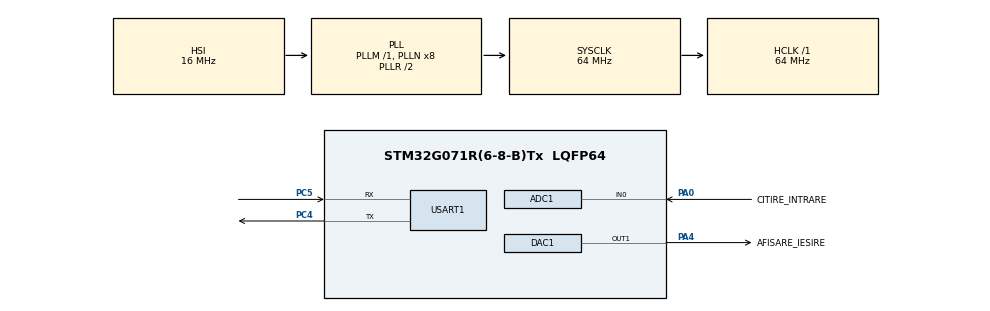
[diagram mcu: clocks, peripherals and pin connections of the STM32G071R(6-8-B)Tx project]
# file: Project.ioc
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ADC1.Channel-0\#ChannelRegularConversion=ADC_CHANNEL_0
ADC1.NbrOfConversionFlag=1
ADC1.Rank-0\#ChannelRegularConversion=1
ADC1.SamplingTime-0\#ChannelRegularConversion=ADC_SAMPLINGTIME_COMMON_1
ADC1.SelectedChannel=ADC_CHANNEL_0
ADC1.master=1
DAC1.DAC_Channel-DAC_OUT1=DAC_CHANNEL_1
DAC1.DAC_UserTrimming-DAC_OUT1=DAC_TRIMMING_FACTORY
Dma.ADC1.0.Direction=DMA_PERIPH_TO_MEMORY
Dma.ADC1.0.EventEnable=DISABLE
Dma.ADC1.0.Instance=DMA1_Channel1
Dma.ADC1.0.MemDataAlignment=DMA_MDATAALIGN_HALFWORD
Dma.ADC1.0.MemInc=DMA_MINC_ENABLE
Dma.ADC1.0.Mode=DMA_NORMAL
Dma.ADC1.0.PeriphDataAlignment=DMA_PDATAALIGN_HALFWORD
Dma.ADC1.0.PeriphInc=DMA_PINC_DISABLE
Dma.ADC1.0.Polarity=HAL_DMAMUX_REQ_GEN_RISING
Dma.ADC1.0.Priority=DMA_PRIORITY_HIGH
Dma.ADC1.0.RequestNumber=1
Dma.ADC1.0.SignalID=NONE
Dma.ADC1.0.SyncEnable=DISABLE
Dma.ADC1.0.SyncPolarity=HAL_DMAMUX_SYNC_NO_EVENT
Dma.ADC1.0.SyncRequestNumber=1
Dma.ADC1.0.SyncSignalID=NONE
Dma.Request0=ADC1
Mcu.Family=STM32G0
Mcu.Name=STM32G071R(6-8-B)Tx
Mcu.Package=LQFP64
NVIC.DMA1_Channel1_IRQn=true\:0\:0\:false\:false\:true\:false\:true\:true
NVIC.TIM16_IRQn=true\:0\:0\:false\:false\:true\:true\:true\:true
PA0.GPIO_Label=CITIRE_INTRARE
PA0.Mode=IN0
PA0.Signal=ADC1_IN0
PA4.GPIO_Label=AFISARE_IESIRE
PA4.Signal=COMP_DAC11_group
PC4.Mode=Asynchronous
PC4.Signal=USART1_TX
PC5.Mode=Asynchronous
PC5.Signal=USART1_RX
ProjectManager.HeapSize=0x200
ProjectManager.StackSize=0x400
ProjectManager.TargetToolchain=STM32CubeIDE
RCC.ADCFreq_Value=64000000
RCC.AHBFreq_Value=64000000
RCC.CortexFreq_Value=64000000
RCC.EXTERNAL_CLOCK_VALUE=12288000
RCC.HCLKFreq_Value=64000000
RCC.HSE_VALUE=8000000
RCC.HSI_VALUE=16000000
RCC.LSE_VALUE=32768
RCC.SYSCLKFreq_VALUE=64000000
RCC.SYSCLKSource=RCC_SYSCLKSOURCE_PLLCLK
RCC.VCOOutputFreq_Value=128000000
SH.COMP_DAC11_group.0=DAC1_OUT1,DAC_OUT1
TIM16.Prescaler=8000-1
USART1.VirtualMode-Asynchronous=VM_ASYNC
VP_TIM16_VS_ClockSourceINT.Mode=Enable_Timer
board=NUCLEO-G071RB

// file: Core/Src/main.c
/* USER CODE BEGIN Header */
/**
  ******************************************************************************
  * @file           : main.c
  * @brief          : Main program body
  ******************************************************************************
  * @attention
  *
  * Copyright (c) 2024 STMicroelectronics.
  * All rights reserved.
  *
  * This software is licensed under terms that can be found in the LICENSE file
  * in the root directory of this software component.
  * If no LICENSE file comes with this software, it is provided AS-IS.
  *
  ******************************************************************************
  */
/* USER CODE END Header */
#include "main.h"

ADC_HandleTypeDef hadc1;
DMA_HandleTypeDef hdma_adc1;

DAC_HandleTypeDef hdac1;

TIM_HandleTypeDef htim16;

UART_HandleTypeDef huart1;

/* USER CODE BEGIN PV */

float u[3] = {0.0, 0.0, 0.0};
float y[3] = {0.0, 0.0, 0.0};

const float b0 = 0.0374;
const float b1 = 0.07481;
const float b2 = 0.0374;

const float a1 = -1.119;
const float a2 = 0.1941;

/* USER CODE END PV */

void SystemClock_Config(void);
static void MX_GPIO_Init(void);
static void MX_DMA_Init(void);
static void MX_ADC1_Init(void);
static void MX_TIM16_Init(void);
static void MX_DAC1_Init(void);
static void MX_USART1_UART_Init(void);

int main(void)
{

  /* MCU Configuration--------------------------------------------------------*/

  /* Reset of all peripherals, Initializes the Flash interface and the Systick. */
  HAL_Init();

  /* Configure the system clock */
  SystemClock_Config();

  /* Initialize all configured peripherals */
  MX_GPIO_Init();
  MX_DMA_Init();
  MX_ADC1_Init();
  MX_TIM16_Init();
  MX_DAC1_Init();
  MX_USART1_UART_Init();
  /* USER CODE BEGIN 2 */

  HAL_TIM_Base_Start_IT(&htim16);

  /* USER CODE END 2 */

  /* Infinite loop */
  while (1)
  {

  }
}

void SystemClock_Config(void)
{
  RCC_OscInitTypeDef RCC_OscInitStruct = {0};
  RCC_ClkInitTypeDef RCC_ClkInitStruct = {0};

  /** Configure the main internal regulator output voltage
  */
  HAL_PWREx_ControlVoltageScaling(PWR_REGULATOR_VOLTAGE_SCALE1);

  /** Initializes the RCC Oscillators according to the specified parameters
  * in the RCC_OscInitTypeDef structure.
  */
  RCC_OscInitStruct.OscillatorType = RCC_OSCILLATORTYPE_HSI;
  RCC_OscInitStruct.HSIState = RCC_HSI_ON;
  RCC_OscInitStruct.HSIDiv = RCC_HSI_DIV1;
  RCC_OscInitStruct.HSICalibrationValue = RCC_HSICALIBRATION_DEFAULT;
  RCC_OscInitStruct.PLL.PLLState = RCC_PLL_ON;
  RCC_OscInitStruct.PLL.PLLSource = RCC_PLLSOURCE_HSI;
  RCC_OscInitStruct.PLL.PLLM = RCC_PLLM_DIV1;
  RCC_OscInitStruct.PLL.PLLN = 8;
  RCC_OscInitStruct.PLL.PLLP = RCC_PLLP_DIV2;
  RCC_OscInitStruct.PLL.PLLQ = RCC_PLLQ_DIV2;
  RCC_OscInitStruct.PLL.PLLR = RCC_PLLR_DIV2;
  if (HAL_RCC_OscConfig(&RCC_OscInitStruct) != HAL_OK)
  {
    Error_Handler();
  }

  /** Initializes the CPU, AHB and APB buses clocks
  */
  RCC_ClkInitStruct.ClockType = RCC_CLOCKTYPE_HCLK|RCC_CLOCKTYPE_SYSCLK
                              |RCC_CLOCKTYPE_PCLK1;
  RCC_ClkInitStruct.SYSCLKSource = RCC_SYSCLKSOURCE_PLLCLK;
  RCC_ClkInitStruct.AHBCLKDivider = RCC_SYSCLK_DIV1;
  RCC_ClkInitStruct.APB1CLKDivider = RCC_HCLK_DIV1;

  if (HAL_RCC_ClockConfig(&RCC_ClkInitStruct, FLASH_LATENCY_2) != HAL_OK)
  {
    Error_Handler();
  }
}

static void MX_ADC1_Init(void)
{

  ADC_ChannelConfTypeDef sConfig = {0};

  /** Configure the global features of the ADC (Clock, Resolution, Data Alignment and number of conversion)
  */
  hadc1.Instance = ADC1;
  hadc1.Init.ClockPrescaler = ADC_CLOCK_SYNC_PCLK_DIV2;
  hadc1.Init.Resolution = ADC_RESOLUTION_12B;
  hadc1.Init.DataAlign = ADC_DATAALIGN_RIGHT;
  hadc1.Init.ScanConvMode = ADC_SCAN_DISABLE;
  hadc1.Init.EOCSelection = ADC_EOC_SINGLE_CONV;
  hadc1.Init.LowPowerAutoWait = DISABLE;
  hadc1.Init.LowPowerAutoPowerOff = DISABLE;
  hadc1.Init.ContinuousConvMode = DISABLE;
  hadc1.Init.NbrOfConversion = 1;
  hadc1.Init.DiscontinuousConvMode = DISABLE;
  hadc1.Init.ExternalTrigConv = ADC_SOFTWARE_START;
  hadc1.Init.ExternalTrigConvEdge = ADC_EXTERNALTRIGCONVEDGE_NONE;
  hadc1.Init.DMAContinuousRequests = DISABLE;
  hadc1.Init.Overrun = ADC_OVR_DATA_PRESERVED;
  hadc1.Init.SamplingTimeCommon1 = ADC_SAMPLETIME_1CYCLE_5;
  hadc1.Init.SamplingTimeCommon2 = ADC_SAMPLETIME_1CYCLE_5;
  hadc1.Init.OversamplingMode = DISABLE;
  hadc1.Init.TriggerFrequencyMode = ADC_TRIGGER_FREQ_HIGH;
  if (HAL_ADC_Init(&hadc1) != HAL_OK)
  {
    Error_Handler();
  }

  /** Configure Regular Channel
  */
  sConfig.Channel = ADC_CHANNEL_0;
  sConfig.Rank = ADC_REGULAR_RANK_1;
  sConfig.SamplingTime = ADC_SAMPLINGTIME_COMMON_1;
  if (HAL_ADC_ConfigChannel(&hadc1, &sConfig) != HAL_OK)
  {
    Error_Handler();
  }

}

static void MX_DAC1_Init(void)
{

  DAC_ChannelConfTypeDef sConfig = {0};

  /** DAC Initialization
  */
  hdac1.Instance = DAC1;
  if (HAL_DAC_Init(&hdac1) != HAL_OK)
  {
    Error_Handler();
  }

  /** DAC channel OUT1 config
  */
  sConfig.DAC_SampleAndHold = DAC_SAMPLEANDHOLD_DISABLE;
  sConfig.DAC_Trigger = DAC_TRIGGER_NONE;
  sConfig.DAC_OutputBuffer = DAC_OUTPUTBUFFER_ENABLE;
  sConfig.DAC_ConnectOnChipPeripheral = DAC_CHIPCONNECT_DISABLE;
  sConfig.DAC_UserTrimming = DAC_TRIMMING_FACTORY;
  if (HAL_DAC_ConfigChannel(&hdac1, &sConfig, DAC_CHANNEL_1) != HAL_OK)
  {
    Error_Handler();
  }

}

static void MX_TIM16_Init(void)
{

  htim16.Instance = TIM16;
  htim16.Init.Prescaler = 8000-1;
  htim16.Init.CounterMode = TIM_COUNTERMODE_UP;
  htim16.Init.Period = 65535;
  htim16.Init.ClockDivision = TIM_CLOCKDIVISION_DIV1;
  htim16.Init.RepetitionCounter = 0;
  htim16.Init.AutoReloadPreload = TIM_AUTORELOAD_PRELOAD_DISABLE;
  if (HAL_TIM_Base_Init(&htim16) != HAL_OK)
  {
    Error_Handler();
  }

}

static void MX_USART1_UART_Init(void)
{

  huart1.Instance = USART1;
  huart1.Init.BaudRate = 115200;
  huart1.Init.WordLength = UART_WORDLENGTH_8B;
  huart1.Init.StopBits = UART_STOPBITS_1;
  huart1.Init.Parity = UART_PARITY_NONE;
  huart1.Init.Mode = UART_MODE_TX_RX;
  huart1.Init.HwFlowCtl = UART_HWCONTROL_NONE;
  huart1.Init.OverSampling = UART_OVERSAMPLING_16;
  huart1.Init.OneBitSampling = UART_ONE_BIT_SAMPLE_DISABLE;
  huart1.Init.ClockPrescaler = UART_PRESCALER_DIV1;
  huart1.AdvancedInit.AdvFeatureInit = UART_ADVFEATURE_NO_INIT;
  if (HAL_UART_Init(&huart1) != HAL_OK)
  {
    Error_Handler();
  }
  if (HAL_UARTEx_SetTxFifoThreshold(&huart1, UART_TXFIFO_THRESHOLD_1_8) != HAL_OK)
  {
    Error_Handler();
  }
  if (HAL_UARTEx_SetRxFifoThreshold(&huart1, UART_RXFIFO_THRESHOLD_1_8) != HAL_OK)
  {
    Error_Handler();
  }
  if (HAL_UARTEx_DisableFifoMode(&huart1) != HAL_OK)
  {
    Error_Handler();
  }

}

static void MX_DMA_Init(void)
{

  /* DMA controller clock enable */
  __HAL_RCC_DMA1_CLK_ENABLE();

  /* DMA interrupt init */
  /* DMA1_Channel1_IRQn interrupt configuration */
  HAL_NVIC_SetPriority(DMA1_Channel1_IRQn, 0, 0);
  HAL_NVIC_EnableIRQ(DMA1_Channel1_IRQn);

}

static void MX_GPIO_Init(void)
{

  /* GPIO Ports Clock Enable */
  __HAL_RCC_GPIOA_CLK_ENABLE();
  __HAL_RCC_GPIOC_CLK_ENABLE();

}

/* USER CODE BEGIN 4 */

void HAL_TIM_PeriodElapsedCallback(TIM_HandleTypeDef *htim){
	if(htim == &htim16){

		HAL_ADC_Start(&hadc1);
		HAL_ADC_PollForConversion(&hadc1, 1);
		u[0] = HAL_ADC_GetValue(&hadc1);
		y[0] = -a1*y[1] - a2*y[2] + b0*u[0] + b1*u[1] + b2*u[2];

		//y[0] = y[0]>>12;

		HAL_DAC_Start(&hdac1, DAC_CHANNEL_1);
		HAL_DAC_SetValue(&hdac1, DAC_CHANNEL_1, DAC_ALIGN_12B_R, (y[0] > 0) ? ((y[0] < 4095) ? y[0] : 4095) : 0);

		u[2] = u[1];
		u[1] = u[0];
		y[2] = y[1];
		y[1] = y[0];
	}
}

/* USER CODE END 4 */

void Error_Handler(void)
{
  __disable_irq();
  while (1)
  {
  }
}
